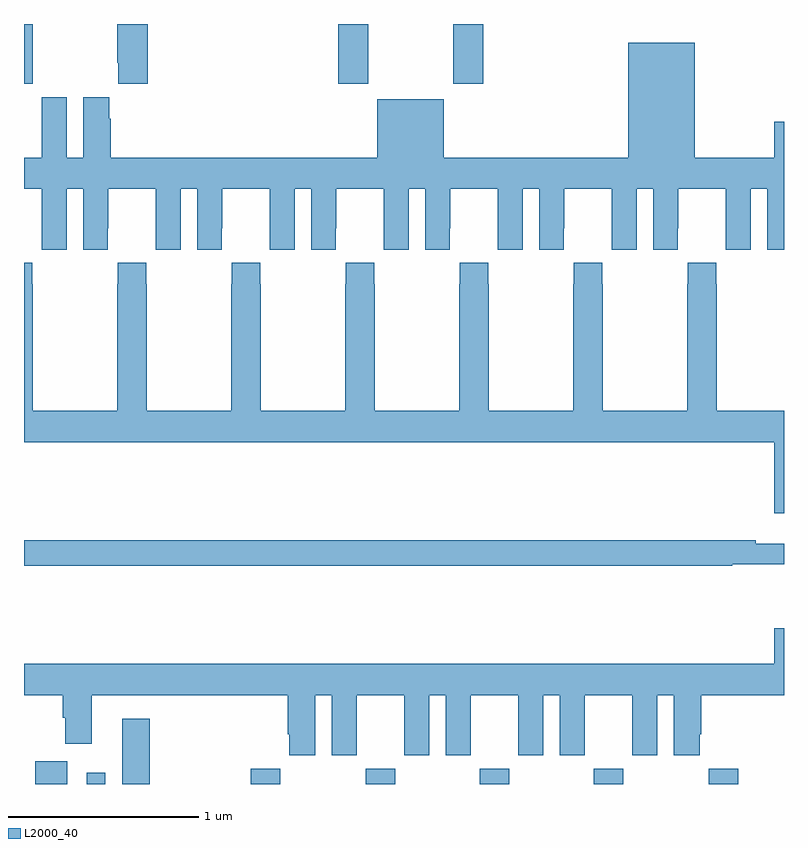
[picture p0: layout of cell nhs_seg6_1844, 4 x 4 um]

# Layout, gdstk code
import gdstk
lib = gdstk.Library(unit=1e-6, precision=1e-09)
def R(c, l, rs):  # rectangles x0, y0, x1, y1
    for r in rs: c.add(gdstk.rectangle(r[:2], r[2:], *l))
def A(c, l, x, y, w, h, nx, ny, dx, dy):  # array of equal rectangles
    R(c, l, [(x+i*dx, y+j*dy, x+i*dx+w, y+j*dy+h) for i in range(nx) for j in range(ny)])
def P(c, l, *ps):  # polygons
    for p in ps: c.add(gdstk.Polygon(p, *l))
L2000_40 = (2000, 40)

nhs_seg6_1844 = lib.new_cell('nhs_seg6_1844')
A(nhs_seg6_1844, L2000_40, 222.799, 981.5, 0.155, 0.08, 3, 1, 0.6, 0)
R(nhs_seg6_1844, L2000_40, [(221.06,981.5,221.227,981.619), (221.331,981.5,221.427,981.559), (221.516,981.5,221.663,981.844), (222.194,981.5,222.349,981.58), (224.603,981.5,224.759,981.58), (221,985.185,221.046,985.5), (222.653,985.185,222.813,985.5), (223.258,985.185,223.418,985.5)])
P(nhs_seg6_1844, L2000_40, [(221.651,985.5),(221.491,985.5),(221.491,985.297),(221.495,985.297),(221.495,985.185),(221.651,985.185)],
  [(221.456,985.001),(221.449,985.001),(221.449,985.114),(221.312,985.114),(221.312,984.796),(221.224,984.796),(221.224,985.114),(221.093,985.114),(221.093,984.796),(221,984.796),(221,984.632),(221.093,984.632),(221.093,984.424),(221.094,984.424),(221.094,984.312),(221.224,984.312),(221.224,984.632),(221.312,984.632),(221.312,984.312),(221.442,984.312),(221.442,984.424),(221.443,984.424),(221.443,984.632),(221.693,984.632),(221.693,984.424),(221.694,984.424),(221.694,984.312),(221.824,984.312),(221.824,984.632),(221.912,984.632),(221.912,984.312),(222.042,984.312),(222.042,984.424),(222.043,984.424),(222.043,984.632),(222.293,984.632),(222.293,984.424),(222.294,984.424),(222.294,984.312),(222.424,984.312),(222.424,984.632),(222.512,984.632),(222.512,984.312),(222.642,984.312),(222.642,984.424),(222.643,984.424),(222.643,984.632),(222.893,984.632),(222.893,984.424),(222.894,984.424),(222.894,984.312),(223.024,984.312),(223.024,984.632),(223.112,984.632),(223.112,984.312),(223.242,984.312),(223.242,984.424),(223.243,984.424),(223.243,984.632),(223.493,984.632),(223.493,984.424),(223.494,984.424),(223.494,984.312),(223.624,984.312),(223.624,984.632),(223.712,984.632),(223.712,984.312),(223.842,984.312),(223.842,984.424),(223.843,984.424),(223.843,984.632),(224.093,984.632),(224.093,984.424),(224.094,984.424),(224.094,984.312),(224.224,984.312),(224.224,984.632),(224.312,984.632),(224.312,984.312),(224.442,984.312),(224.442,984.424),(224.443,984.424),(224.443,984.632),(224.693,984.632),(224.693,984.424),(224.694,984.424),(224.694,984.312),(224.824,984.312),(224.824,984.632),(224.912,984.632),(224.912,984.312),(225,984.312),(225,984.985),(224.948,984.985),(224.948,984.796),(224.53,984.796),(224.53,985.402),(224.18,985.402),(224.18,984.796),(223.21,984.796),(223.21,985.105),(222.86,985.105),(222.86,984.796),(221.456,984.796)],
  [(225,983.464),(224.646,983.464),(224.646,984.131),(224.643,984.131),(224.643,984.244),(224.493,984.244),(224.493,984.131),(224.491,984.131),(224.491,983.464),(224.046,983.464),(224.046,984.131),(224.043,984.131),(224.043,984.244),(223.893,984.244),(223.893,984.131),(223.891,984.131),(223.891,983.464),(223.446,983.464),(223.446,984.131),(223.443,984.131),(223.443,984.244),(223.293,984.244),(223.293,984.131),(223.291,984.131),(223.291,983.464),(222.846,983.464),(222.846,984.131),(222.843,984.131),(222.843,984.244),(222.693,984.244),(222.693,984.131),(222.691,984.131),(222.691,983.464),(222.246,983.464),(222.246,984.131),(222.243,984.131),(222.243,984.244),(222.093,984.244),(222.093,984.131),(222.091,984.131),(222.091,983.464),(221.646,983.464),(221.646,984.131),(221.643,984.131),(221.643,984.244),(221.493,984.244),(221.493,984.131),(221.491,984.131),(221.491,983.464),(221.046,983.464),(221.046,984.131),(221.043,984.131),(221.043,984.244),(221,984.244),(221,983.3),(224.948,983.3),(224.948,982.926),(225,982.926)],
  [(224.728,982.656),(225,982.656),(225,982.765),(224.852,982.765),(224.852,982.784),(221,982.784),(221,982.648),(224.728,982.648)],
  [(222.532,981.968),(222.62,981.968),(222.62,981.651),(222.751,981.651),(222.751,981.968),(223.001,981.968),(223.001,981.651),(223.132,981.651),(223.132,981.968),(223.22,981.968),(223.22,981.651),(223.351,981.651),(223.351,981.968),(223.601,981.968),(223.601,981.651),(223.732,981.651),(223.732,981.968),(223.82,981.968),(223.82,981.651),(223.951,981.651),(223.951,981.968),(224.201,981.968),(224.201,981.651),(224.332,981.651),(224.332,981.968),(224.42,981.968),(224.42,981.651),(224.557,981.651),(224.557,981.763),(224.564,981.763),(224.564,981.968),(225,981.968),(225,982.321),(224.948,982.321),(224.948,982.132),(221,982.132),(221,981.968),(221.204,981.968),(221.204,981.848),(221.216,981.848),(221.216,981.711),(221.356,981.711),(221.356,981.968),(222.389,981.968),(222.389,981.763),(222.395,981.763),(222.395,981.651),(222.532,981.651)])

lib.write_gds('nhs_seg6_1844.gds')
